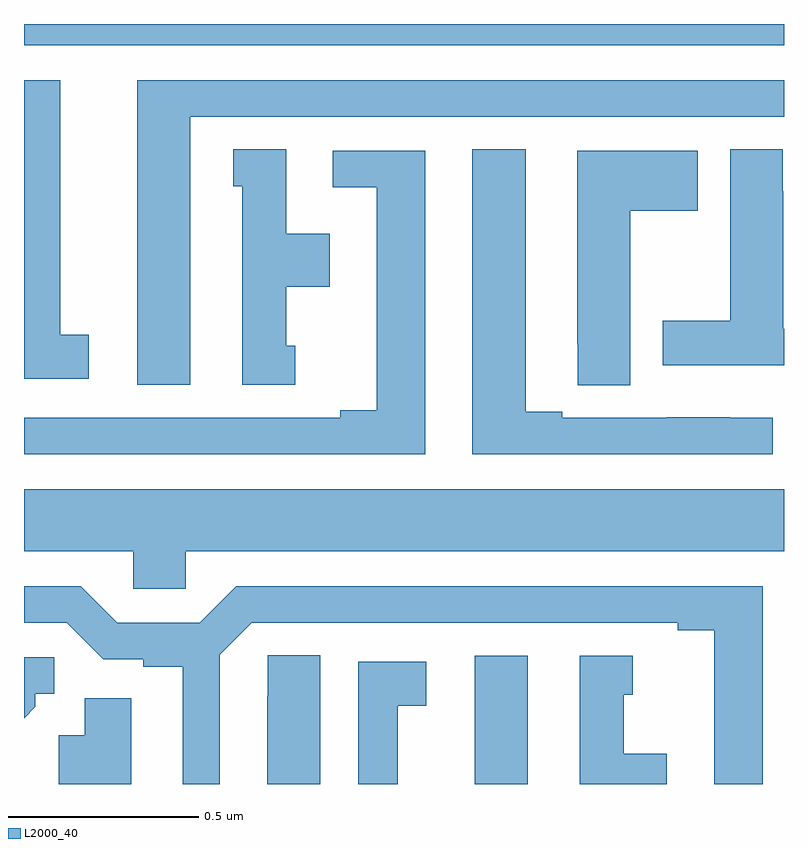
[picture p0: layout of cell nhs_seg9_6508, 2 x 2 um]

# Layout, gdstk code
import gdstk
lib = gdstk.Library(unit=1e-6, precision=1e-09)
def R(c, l, rs):  # rectangles x0, y0, x1, y1
    for r in rs: c.add(gdstk.rectangle(r[:2], r[2:], *l))
def P(c, l, *ps):  # polygons
    for p in ps: c.add(gdstk.Polygon(p, *l))
L2000_40 = (2000, 40)

nhs_seg9_6508 = lib.new_cell('nhs_seg9_6508')
R(nhs_seg9_6508, L2000_40, [(194.186,1170.5,194.326,1170.838), (193,1172.444,195,1172.5)])
P(nhs_seg9_6508, L2000_40, [(193.171,1171.682),(193.096,1171.682),(193.096,1172.352),(193,1172.352),(193,1171.566),(193.171,1171.566)],
  [(193.438,1172.256),(195,1172.256),(195,1172.352),(193.298,1172.352),(193.298,1171.551),(193.438,1171.551)],
  [(193.714,1171.653),(193.69,1171.653),(193.69,1171.808),(193.804,1171.808),(193.804,1171.948),(193.69,1171.948),(193.69,1172.171),(193.55,1172.171),(193.55,1172.073),(193.574,1172.073),(193.574,1171.551),(193.714,1171.551)],
  [(194.971,1171.464),(194.858,1171.464),(194.858,1171.465),(194.692,1171.465),(194.692,1171.464),(194.416,1171.464),(194.416,1171.479),(194.32,1171.479),(194.32,1172.171),(194.18,1172.171),(194.18,1171.368),(194.971,1171.368)],
  [(195,1171.698),(194.998,1171.698),(194.998,1172.06),(194.997,1172.06),(194.997,1172.171),(194.858,1172.171),(194.858,1171.719),(194.681,1171.719),(194.681,1171.602),(195,1171.602)],
  [(194.596,1172.008),(194.773,1172.008),(194.773,1172.167),(194.456,1172.167),(194.456,1171.657),(194.457,1171.657),(194.457,1171.549),(194.596,1171.549)],
  [(194.056,1172.166),(193.812,1172.166),(193.812,1172.07),(193.928,1172.07),(193.928,1171.484),(193.832,1171.484),(193.832,1171.464),(193,1171.464),(193,1171.368),(194.056,1171.368)],
  [(193.425,1171.112),(195,1171.112),(195,1171.276),(193,1171.276),(193,1171.112),(193.287,1171.112),(193.287,1171.014),(193.425,1171.014)],
  [(193.515,1170.84),(193.599,1170.924),(194.72,1170.924),(194.72,1170.904),(194.816,1170.904),(194.816,1170.5),(194.944,1170.5),(194.944,1171.02),(193.559,1171.02),(193.463,1170.924),(193.245,1170.924),(193.149,1171.02),(193,1171.02),(193,1170.924),(193.113,1170.924),(193.209,1170.828),(193.314,1170.828),(193.314,1170.808),(193.418,1170.808),(193.418,1170.5),(193.515,1170.5)],
  [(193.78,1170.839),(193.641,1170.839),(193.641,1170.731),(193.64,1170.731),(193.64,1170.5),(193.78,1170.5)],
  [(194.692,1170.58),(194.578,1170.58),(194.578,1170.735),(194.602,1170.735),(194.602,1170.838),(194.462,1170.838),(194.462,1170.5),(194.692,1170.5)],
  [(193.03,1170.703),(193.03,1170.738),(193.08,1170.738),(193.08,1170.834),(193,1170.834),(193,1170.673)],
  [(193.984,1170.706),(194.059,1170.706),(194.059,1170.822),(193.88,1170.822),(193.88,1170.5),(193.984,1170.5)],
  [(193.282,1170.726),(193.16,1170.726),(193.16,1170.628),(193.091,1170.628),(193.091,1170.5),(193.282,1170.5)])

lib.write_gds('nhs_seg9_6508.gds')
